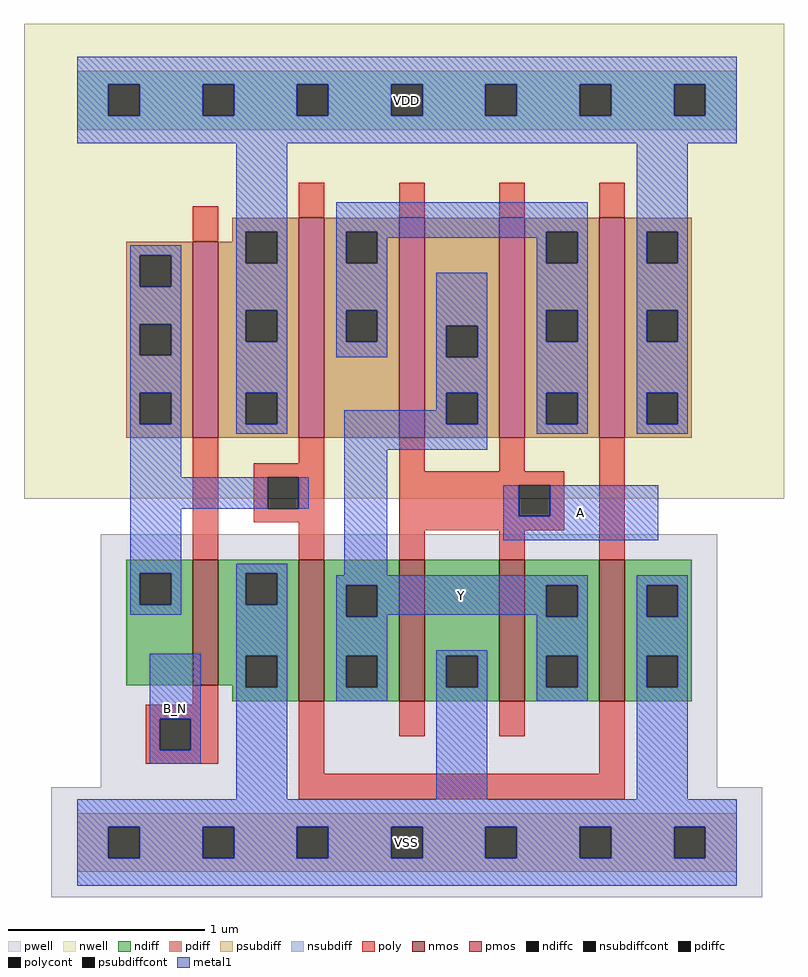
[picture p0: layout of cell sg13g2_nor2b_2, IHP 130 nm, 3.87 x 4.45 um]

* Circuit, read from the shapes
.subckt sg13g2_nor2b_2 A B_N VDD Y VSS
XM1 VSS B_N n1 VSS sg13_lv_nmos w=0.64u l=0.13u
XM2 Y n1 VSS VSS sg13_lv_nmos w=0.72u l=0.13u m=2
XM3 VSS A Y VSS sg13_lv_nmos w=0.72u l=0.13u m=2
XM4 VDD B_N n1 VDD sg13_lv_pmos w=1u l=0.13u
XM5 n2 n1 VDD VDD sg13_lv_pmos w=1.12u l=0.13u m=2
XM6 Y A n2 VDD sg13_lv_pmos w=1.12u l=0.13u m=2
.ends

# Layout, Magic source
magic
tech ihp-sg13g2
<< nwell >>
rect -27 175 360 417
<< pwell >>
rect 12 28 326 157
rect -13 -28 349 28
<< nmos >>
rect 59 80 72 144
rect 113 72 126 144
rect 164 72 177 144
rect 215 72 228 144
rect 266 72 279 144
<< pmos >>
rect 59 206 72 306
rect 113 206 126 318
rect 164 206 177 318
rect 215 206 228 318
rect 266 206 279 318
<< ndiff >>
rect 25 137 59 144
rect 25 121 32 137
rect 48 121 59 137
rect 25 80 59 121
rect 72 137 113 144
rect 72 121 86 137
rect 102 121 113 137
rect 72 95 113 121
rect 72 80 86 95
rect 79 79 86 80
rect 102 79 113 95
rect 79 72 113 79
rect 126 131 164 144
rect 126 115 137 131
rect 153 115 164 131
rect 126 95 164 115
rect 126 79 137 95
rect 153 79 164 95
rect 126 72 164 79
rect 177 95 215 144
rect 177 79 188 95
rect 204 79 215 95
rect 177 72 215 79
rect 228 131 266 144
rect 228 115 239 131
rect 255 115 266 131
rect 228 95 266 115
rect 228 79 239 95
rect 255 79 266 95
rect 228 72 266 79
rect 279 131 313 144
rect 279 115 290 131
rect 306 115 313 131
rect 279 95 313 115
rect 279 79 290 95
rect 306 79 313 95
rect 279 72 313 79
<< pdiff >>
rect 79 311 113 318
rect 79 306 86 311
rect 25 299 59 306
rect 25 283 32 299
rect 48 283 59 299
rect 25 264 59 283
rect 25 248 32 264
rect 48 248 59 264
rect 25 229 59 248
rect 25 213 32 229
rect 48 213 59 229
rect 25 206 59 213
rect 72 295 86 306
rect 102 295 113 311
rect 72 271 113 295
rect 72 255 86 271
rect 102 255 113 271
rect 72 229 113 255
rect 72 213 86 229
rect 102 213 113 229
rect 72 206 113 213
rect 126 311 164 318
rect 126 295 137 311
rect 153 295 164 311
rect 126 271 164 295
rect 126 255 137 271
rect 153 255 164 271
rect 126 206 164 255
rect 177 263 215 318
rect 177 247 188 263
rect 204 247 215 263
rect 177 229 215 247
rect 177 213 188 229
rect 204 213 215 229
rect 177 206 215 213
rect 228 311 266 318
rect 228 295 239 311
rect 255 295 266 311
rect 228 271 266 295
rect 228 255 239 271
rect 255 255 266 271
rect 228 229 266 255
rect 228 213 239 229
rect 255 213 266 229
rect 228 206 266 213
rect 279 311 313 318
rect 279 295 290 311
rect 306 295 313 311
rect 279 271 313 295
rect 279 255 290 271
rect 306 255 313 271
rect 279 229 313 255
rect 279 213 290 229
rect 306 213 313 229
rect 279 206 313 213
<< ndiffc >>
rect 32 121 48 137
rect 86 121 102 137
rect 86 79 102 95
rect 137 115 153 131
rect 137 79 153 95
rect 188 79 204 95
rect 239 115 255 131
rect 239 79 255 95
rect 290 115 306 131
rect 290 79 306 95
<< pdiffc >>
rect 32 283 48 299
rect 32 248 48 264
rect 32 213 48 229
rect 86 295 102 311
rect 86 255 102 271
rect 86 213 102 229
rect 137 295 153 311
rect 137 255 153 271
rect 188 247 204 263
rect 188 213 204 229
rect 239 295 255 311
rect 239 255 255 271
rect 239 213 255 229
rect 290 295 306 311
rect 290 255 306 271
rect 290 213 306 229
<< psubdiff >>
rect 0 8 336 15
rect 0 -8 16 8
rect 32 -8 64 8
rect 80 -8 112 8
rect 128 -8 160 8
rect 176 -8 208 8
rect 224 -8 256 8
rect 272 -8 304 8
rect 320 -8 336 8
rect 0 -15 336 -8
<< nsubdiff >>
rect 0 386 336 393
rect 0 370 16 386
rect 32 370 64 386
rect 80 370 112 386
rect 128 370 160 386
rect 176 370 208 386
rect 224 370 256 386
rect 272 370 304 386
rect 320 370 336 386
rect 0 363 336 370
<< psubdiffcont >>
rect 16 -8 32 8
rect 64 -8 80 8
rect 112 -8 128 8
rect 160 -8 176 8
rect 208 -8 224 8
rect 256 -8 272 8
rect 304 -8 320 8
<< nsubdiffcont >>
rect 16 370 32 386
rect 64 370 80 386
rect 112 370 128 386
rect 160 370 176 386
rect 208 370 224 386
rect 256 370 272 386
rect 304 370 320 386
<< poly >>
rect 59 306 72 324
rect 113 318 126 336
rect 164 318 177 336
rect 215 318 228 336
rect 266 318 279 336
rect 59 144 72 206
rect 113 193 126 206
rect 90 186 126 193
rect 90 170 97 186
rect 113 170 126 186
rect 90 163 126 170
rect 113 144 126 163
rect 164 189 177 206
rect 215 189 228 206
rect 164 182 248 189
rect 164 166 225 182
rect 241 166 248 182
rect 164 159 248 166
rect 164 144 177 159
rect 215 144 228 159
rect 266 144 279 206
rect 59 70 72 80
rect 35 63 72 70
rect 35 47 42 63
rect 58 47 72 63
rect 35 40 72 47
rect 113 35 126 72
rect 164 54 177 72
rect 215 54 228 72
rect 266 35 279 72
rect 113 22 279 35
<< polycont >>
rect 97 170 113 186
rect 225 166 241 182
rect 42 47 58 63
<< metal1 >>
rect 0 386 336 400
rect 0 370 16 386
rect 32 370 64 386
rect 80 370 112 386
rect 128 370 160 386
rect 176 370 208 386
rect 224 370 256 386
rect 272 370 304 386
rect 320 370 336 386
rect 0 356 336 370
rect 81 311 107 356
rect 27 299 53 304
rect 27 283 32 299
rect 48 283 53 299
rect 27 264 53 283
rect 27 248 32 264
rect 48 248 53 264
rect 27 229 53 248
rect 27 213 32 229
rect 48 213 53 229
rect 27 186 53 213
rect 81 295 86 311
rect 102 295 107 311
rect 81 271 107 295
rect 81 255 86 271
rect 102 255 107 271
rect 81 229 107 255
rect 132 311 260 326
rect 132 295 137 311
rect 153 308 239 311
rect 153 295 158 308
rect 132 271 158 295
rect 234 295 239 308
rect 255 295 260 311
rect 132 255 137 271
rect 153 255 158 271
rect 132 247 158 255
rect 183 263 209 290
rect 183 247 188 263
rect 204 247 209 263
rect 81 213 86 229
rect 102 213 107 229
rect 183 229 209 247
rect 183 220 188 229
rect 81 208 107 213
rect 136 213 188 220
rect 204 213 209 229
rect 136 200 209 213
rect 234 271 260 295
rect 234 255 239 271
rect 255 255 260 271
rect 234 229 260 255
rect 234 213 239 229
rect 255 213 260 229
rect 234 208 260 213
rect 285 311 311 356
rect 285 295 290 311
rect 306 295 311 311
rect 285 271 311 295
rect 285 255 290 271
rect 306 255 311 271
rect 285 229 311 255
rect 285 213 290 229
rect 306 213 311 229
rect 285 208 311 213
rect 27 170 97 186
rect 113 170 118 186
rect 27 137 53 170
rect 27 121 32 137
rect 48 121 53 137
rect 27 116 53 121
rect 81 137 107 142
rect 81 121 86 137
rect 102 121 107 137
rect 136 136 158 200
rect 217 166 225 182
rect 241 166 296 182
rect 217 154 296 166
rect 37 63 63 96
rect 37 47 42 63
rect 58 47 63 63
rect 37 40 63 47
rect 81 95 107 121
rect 81 79 86 95
rect 102 79 107 95
rect 81 22 107 79
rect 132 131 260 136
rect 132 115 137 131
rect 153 116 239 131
rect 153 115 158 116
rect 132 95 158 115
rect 234 115 239 116
rect 255 115 260 131
rect 132 79 137 95
rect 153 79 158 95
rect 132 72 158 79
rect 183 95 209 98
rect 183 79 188 95
rect 204 79 209 95
rect 183 22 209 79
rect 234 95 260 115
rect 234 79 239 95
rect 255 79 260 95
rect 234 72 260 79
rect 285 131 311 136
rect 285 115 290 131
rect 306 115 311 131
rect 285 95 311 115
rect 285 79 290 95
rect 306 79 311 95
rect 285 22 311 79
rect 0 8 336 22
rect 0 -8 16 8
rect 32 -8 64 8
rect 80 -8 112 8
rect 128 -8 160 8
rect 176 -8 208 8
rect 224 -8 256 8
rect 272 -8 304 8
rect 320 -8 336 8
rect 0 -22 336 -8
<< labels >>
flabel metal1 s 217 154 296 182 0 FreeSans 200 0 0 0 A
port 2 nsew
flabel metal1 s 37 40 63 96 0 FreeSans 200 0 0 0 B_N
port 3 nsew
flabel metal1 s 0 356 336 400 0 FreeSans 200 0 0 0 VDD
port 4 nsew
flabel metal1 s 132 116 260 136 0 FreeSans 200 0 0 0 Y
port 5 nsew
flabel metal1 s 0 -22 336 22 0 FreeSans 200 0 0 0 VSS
port 6 nsew
<< properties >>
string FIXED_BBOX 0 0 336 378
string GDS_END 231904
string GDS_FILE ../gds/controller.gds
string GDS_START 226776
<< end >>
